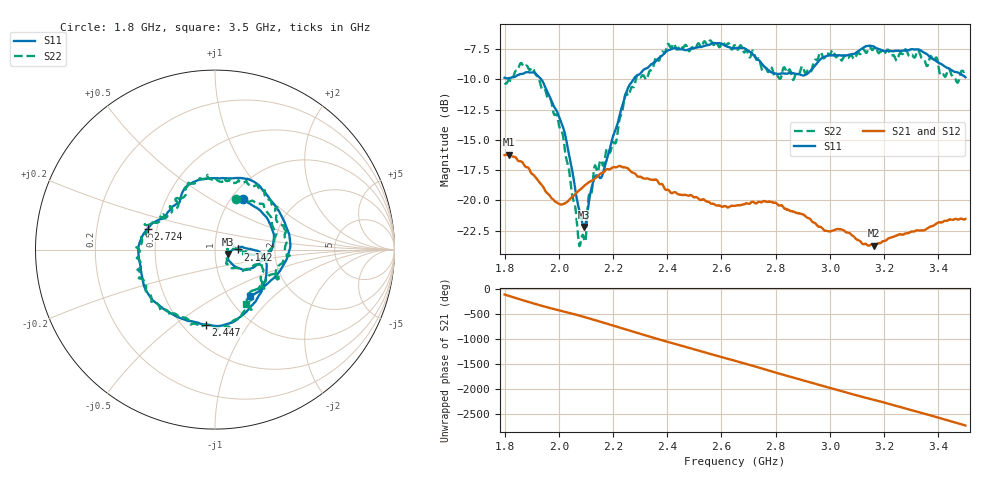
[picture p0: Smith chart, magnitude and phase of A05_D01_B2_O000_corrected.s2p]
! Created with skrf 1.9.0 (http://scikit-rf.org).
# Hz S RI R 50.0
!freq ReS11 ImS11 ReS21 ImS21 ReS12 ImS12 ReS22 ImS22
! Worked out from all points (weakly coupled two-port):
!   1601 points, 1.8 GHz to 3.5 GHz, reference 50 ohm
!   highest |S21| = -16.22 dB at 1.816 GHz (marker M1); lowest = -23.7 dB at 3.163 GHz (marker M2)
!   lowest |S11| = -22.2 dB at 2.093 GHz (marker M3), VSWR 1.17, Z = 57.9 - j2.88 ohm
!   |S11| at or under -10 dB: 1.936 GHz to 2.275 GHz (339.4 MHz wide, 16.1 % of centre)
!   |S22| runs from -23.8 to -6.8 dB; largest |S21 - S12| = 0.0032
!   S11 on the Smith chart (normalised r, x): 1.8 GHz: 1.13, +0.71; 2.142 GHz: 1.29, +0.00; 2.447 GHz: 0.64, -0.65; 2.724 GHz: 0.45, +0.12; 3.5 GHz: 1.26, -0.72
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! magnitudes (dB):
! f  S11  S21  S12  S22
! 1.8 GHz  -9.9  -16.2  -16.3  -10.3
! 1.816 GHz  -9.9  -16.2  -16.2  -10.0
! 1.902 GHz  -9.4  -17.8  -17.8  -9.0
! 1.969 GHz  -11.6  -19.7  -19.7  -11.6
! 2.021 GHz  -14.3  -20.3  -20.3  -15.6
! 2.073 GHz  -20.6  -19.2  -19.2  -23.4
! 2.084 GHz  -21.6  -19.0  -19.0  -23.1
! 2.093 GHz  -22.2  -18.8  -18.9  -23.2
! 2.142 GHz  -17.9  -18.0  -18.0  -17.6
! 2.208 GHz  -14.2  -17.3  -17.2  -15.3
! 2.259 GHz  -10.5  -17.4  -17.5  -11.3
! 2.367 GHz  -8.3  -18.5  -18.5  -8.4
! 2.447 GHz  -7.5  -19.5  -19.5  -7.2
! 2.65 GHz  -7.4  -20.4  -20.4  -7.2
! 2.724 GHz  -8.1  -20.2  -20.2  -8.1
! 2.81 GHz  -9.5  -20.4  -20.3  -9.8
! 2.934 GHz  -9.2  -21.7  -21.7  -9.2
! 3.163 GHz  -7.3  -23.7  -23.7  -7.4
! 3.217 GHz  -7.6  -23.1  -23.1  -7.7
! 3.389 GHz  -8.4  -22.0  -22.0  -8.3
! 3.468 GHz  -9.4  -21.5  -21.5  -10.2
! 3.5 GHz  -9.8  -21.5  -21.5  -9.2
